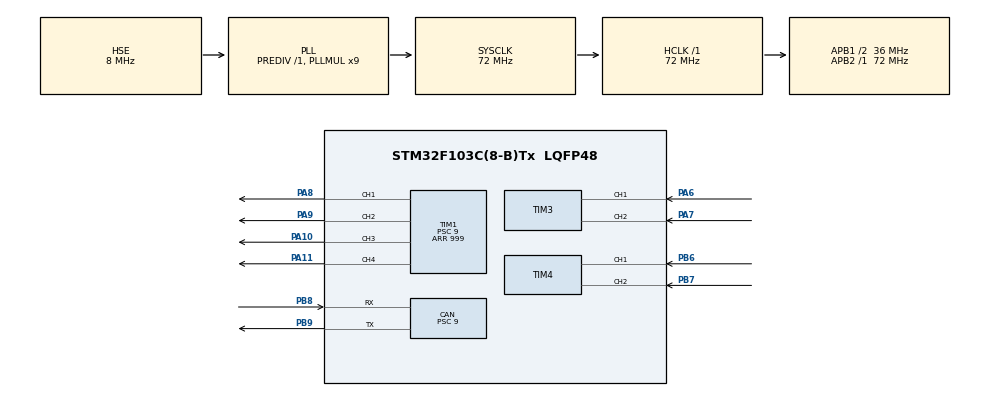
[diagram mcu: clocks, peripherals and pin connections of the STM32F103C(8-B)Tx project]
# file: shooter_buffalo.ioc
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CAN.BS1=CAN_BS1_2TQ
CAN.CalculateBaudRate=1000000
CAN.CalculateTimeBit=1000
CAN.CalculateTimeQuantum=250.0
CAN.Prescaler=9
Mcu.Family=STM32F1
Mcu.Name=STM32F103C(8-B)Tx
Mcu.Package=LQFP48
NVIC.CAN1_RX1_IRQn=true\:0\:0\:false\:false\:true\:true\:true\:true
NVIC.PriorityGroup=NVIC_PRIORITYGROUP_4
NVIC.TIM2_IRQn=true\:0\:0\:false\:false\:true\:true\:true\:true
PA10.Signal=S_TIM1_CH3
PA11.Signal=S_TIM1_CH4
PA13.Mode=Serial_Wire
PA13.Signal=SYS_JTMS-SWDIO
PA14.Mode=Serial_Wire
PA14.Signal=SYS_JTCK-SWCLK
PA6.Signal=S_TIM3_CH1
PA7.Signal=S_TIM3_CH2
PA8.Signal=S_TIM1_CH1
PA9.Signal=S_TIM1_CH2
PB6.Signal=S_TIM4_CH1
PB7.Signal=S_TIM4_CH2
PB8.Mode=CAN_Activate
PB8.Signal=CAN_RX
PB9.Mode=CAN_Activate
PB9.Signal=CAN_TX
PD0-OSC_IN.Mode=HSE-External-Oscillator
PD0-OSC_IN.Signal=RCC_OSC_IN
PD1-OSC_OUT.Mode=HSE-External-Oscillator
PD1-OSC_OUT.Signal=RCC_OSC_OUT
ProjectManager.HeapSize=0x200
ProjectManager.StackSize=0x400
ProjectManager.TargetToolchain=STM32CubeIDE
RCC.ADCPresc=RCC_ADCPCLK2_DIV6
RCC.AHBFreq_Value=72000000
RCC.APB1CLKDivider=RCC_HCLK_DIV2
RCC.APB1Freq_Value=36000000
RCC.APB1TimFreq_Value=72000000
RCC.APB2Freq_Value=72000000
RCC.APB2TimFreq_Value=72000000
RCC.HCLKFreq_Value=72000000
RCC.PLLMUL=RCC_PLL_MUL9
RCC.PLLSourceVirtual=RCC_PLLSOURCE_HSE
RCC.SYSCLKFreq_VALUE=72000000
RCC.SYSCLKSource=RCC_SYSCLKSOURCE_PLLCLK
RCC.USBFreq_Value=72000000
SH.S_TIM1_CH1.0=TIM1_CH1,PWM Generation1 CH1
SH.S_TIM1_CH2.0=TIM1_CH2,PWM Generation2 CH2
SH.S_TIM1_CH3.0=TIM1_CH3,PWM Generation3 CH3
SH.S_TIM1_CH4.0=TIM1_CH4,PWM Generation4 CH4
SH.S_TIM3_CH1.0=TIM3_CH1,Encoder_Interface
SH.S_TIM3_CH2.0=TIM3_CH2,Encoder_Interface
SH.S_TIM4_CH1.0=TIM4_CH1,Encoder_Interface
SH.S_TIM4_CH2.0=TIM4_CH2,Encoder_Interface
TIM1.AutoReloadPreload=TIM_AUTORELOAD_PRELOAD_ENABLE
TIM1.Channel-PWM\ Generation1\ CH1=TIM_CHANNEL_1
TIM1.Channel-PWM\ Generation2\ CH2=TIM_CHANNEL_2
TIM1.Channel-PWM\ Generation3\ CH3=TIM_CHANNEL_3
TIM1.Channel-PWM\ Generation4\ CH4=TIM_CHANNEL_4
TIM1.Period=999
TIM1.Prescaler=9
TIM2.AutoReloadPreload=TIM_AUTORELOAD_PRELOAD_ENABLE
TIM2.Period=9999
TIM2.Prescaler=71
TIM3.AutoReloadPreload=TIM_AUTORELOAD_PRELOAD_ENABLE
TIM3.EncoderMode=TIM_ENCODERMODE_TI12
TIM4.AutoReloadPreload=TIM_AUTORELOAD_PRELOAD_ENABLE
TIM4.EncoderMode=TIM_ENCODERMODE_TI12
VP_TIM2_VS_ClockSourceINT.Mode=Internal
board=custom

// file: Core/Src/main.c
/* USER CODE BEGIN Header */
/**
  ******************************************************************************
  * @file           : main.c
  * @brief          : Main program body
  ******************************************************************************
  * @attention
  *
  * Copyright (c) 2024 STMicroelectronics.
  * All rights reserved.
  *
  * This software is licensed under terms that can be found in the LICENSE file
  * in the root directory of this software component.
  * If no LICENSE file comes with this software, it is provided AS-IS.
  *
  ******************************************************************************
  */
/* USER CODE END Header */
#include "main.h"
#include "can.h"
#include "tim.h"
#include "gpio.h"

/* USER CODE BEGIN Includes */
#include "math.h"
#include "PID.h"
/* USER CODE END Includes */

/* USER CODE BEGIN PTD */
PIDController MPID;
CAN_RxHeaderTypeDef RxHeader;
CAN_TxHeaderTypeDef TxHeader;
/* USER CODE END PTD */

/* USER CODE BEGIN PD */
#define PI 3.1456
#define H 0.62
#define r 0.005
//#define CPR 64  // Motor bro Ra
//#define CPR 1300 // Motor bro Phana Motor 24V
//#define CPR2 1308  // Motor 12V
#define Sample_time 10 // ms
#define pi 3.14
//** Motor Shooting Bro Ra **//
//#define kp 0.03072
//#define ki 0.7483

//** Motor Shooting Bro Phana **//
#define CPR 946
#define kp 1.0510
#define ki 204.0816
//#define kp 3.6312  // Motor 24V
//#define ki 249.3097 // Motor 12V
//#define kp2 0.4122
//#define ki2 101.8
#define kd 0
#define Motor1 0
#define Motor2 1

// shooting ball
#define m 0.35 //[kg]
#define g 9.81 // [m/s^2]
#define b 1.225
/* USER CODE END PD */

/* USER CODE BEGIN PV */
//CAN
uint8_t RxData[8];
uint8_t TxData[8];
uint32_t TxMailbox;
int flag = 0;
uint8_t cntt;
float RxData1 = 0;
float RxData2 = 0;
float RxData3 = 0;
float RxData4 = 0;
// MOTOR
uint16_t count[2]; // count pulse from encoder
uint16_t new_count[2];
uint8_t count_state[2];
uint16_t diff[2]; // difference between count and new_count in a sample time
float speedM[2];
float rdps[2];
float Motor1_speed;
float Motor2_speed;

// Shooter
float pwm1;
float pwm2;
float h;
float V1;
float V;
float theta;
float V_shooter;
float V_shooter2;
uint16_t V1_out;
uint16_t V2_out;
int x;
uint8_t goal_ball;
float Vx;
float Vy;
float Omega;
float X;
float Y;
float Yaw;
float X_end;
float laserX;
float laserY;
uint8_t state = 0;
uint8_t ball_pur = 0;
uint8_t check_ballinside;
/* USER CODE END PV */

void SystemClock_Config(void);
/* USER CODE BEGIN PFP */
float Motors_RPS( int j,float SampleTime, float N_round)
{

	new_count[Motor2] = TIM3->CNT;
	new_count[Motor1] = TIM4->CNT;
	count_state[Motor2] = __HAL_TIM_IS_TIM_COUNTING_DOWN(&htim3);
	count_state[Motor1] = __HAL_TIM_IS_TIM_COUNTING_DOWN(&htim4);

	if (count_state[j])
	{
		if (new_count[j] <= count[j])
		{ // Check for counter underflow
			diff[j] = count[j] - new_count[j];
		}
		else
		{
			diff[j] = (65536 - new_count[j]) + count[j];
		}
		speedM[j] = (float)diff[j] * 1000.0f / (N_round * SampleTime)*-1;
	}
	else
	{
		if (new_count[j] >= count[j])
		{ // Check for counter overflow
			diff[j] = new_count[j] - count[j];
		}
		else
		{
			diff[j] = (65536 - count[j]) + new_count[j];
		}
		speedM[j] = (float)diff[j] * 1000.0f / (N_round * SampleTime);
	}

	rdps[j] = -2.0f * pi * speedM[j];
	count[j] = new_count[j];

	return rdps[j];
}
float map(float Input, float Min_Input, float Max_Input, float Min_Output,
		float Max_Output) {

	return (float) ((Input - Min_Input) * (Max_Output - Min_Output)
			/ (Max_Input - Min_Input) + Min_Output);
}

void HAL_CAN_RxFifo1MsgPendingCallback(CAN_HandleTypeDef *hcan) {
	HAL_CAN_GetRxMessage(hcan, CAN_RX_FIFO1, &RxHeader, RxData);
		cntt++;
		while (cntt - 100 > 0) {
			//HAL_GPIO_TogglePin(GPIOC, GPIO_PIN_13);
			cntt = 0;
		}

	if (RxHeader.StdId == 0x409) {
//		RxData1 = (RxData[0]<<8 | RxData[1]);
		RxData2 = (RxData[1]<<8 | RxData[2]);
		RxData3 = (RxData[3]<<8 | RxData[4]);
//		laserX = map(RxData2,0,65535,0.0,10.0);
//		laserY = map(RxData3,0,65535,0.0,10.0);
		check_ballinside = RxData[7];
		laserX = ((RxData2*0.08502) + 1.727)/100;
		laserY = ((RxData3*0.154) - 2.169)/100;
		flag = 1;
	}
	if (RxHeader.StdId == 0x222) {
				state = RxData[0];
				ball_pur = RxData[1];
	}
}
/* USER CODE END PFP */

int main(void)
{
  /* USER CODE BEGIN 1 */
	PID_Init(&MPID, 2);
	MPID.T = 0.01; // T = 10ms
	MPID.limMax = 1000;
	MPID.limMin = -1000;
	MPID.limMaxInt = 1000;
	MPID.limMinInt = -1000;
	MPID.tau = 0; // for Kd
  /* USER CODE END 1 */

  /* MCU Configuration--------------------------------------------------------*/

  /* Reset of all peripherals, Initializes the Flash interface and the Systick. */
  HAL_Init();

  /* Configure the system clock */
  SystemClock_Config();

  /* Initialize all configured peripherals */
  MX_GPIO_Init();
  MX_CAN_Init();
  MX_TIM1_Init();
  MX_TIM3_Init();
  MX_TIM2_Init();
  MX_TIM4_Init();
  /* USER CODE BEGIN 2 */
  HAL_TIM_PWM_Start(&htim1, TIM_CHANNEL_1);
    HAL_TIM_PWM_Start(&htim1, TIM_CHANNEL_2);
    HAL_TIM_PWM_Start(&htim1, TIM_CHANNEL_3);
    HAL_TIM_PWM_Start(&htim1, TIM_CHANNEL_4);
    HAL_TIM_Base_Start_IT(&htim2);
    HAL_TIM_Encoder_Start(&htim3, TIM_CHANNEL_ALL);
    HAL_TIM_Encoder_Start(&htim4, TIM_CHANNEL_ALL);
    HAL_CAN_Start(&hcan);

  	HAL_CAN_ActivateNotification(&hcan, CAN_IT_RX_FIFO1_MSG_PENDING);
  	TxHeader.DLC = 1;
  	TxHeader.IDE = CAN_ID_STD;
  	TxHeader.RTR = CAN_RTR_DATA;
  	TxHeader.StdId = 0x217; //Slave1
  /* USER CODE END 2 */

  /* Infinite loop */
  while (1)
  {

  }
}

void SystemClock_Config(void)
{
  RCC_OscInitTypeDef RCC_OscInitStruct = {0};
  RCC_ClkInitTypeDef RCC_ClkInitStruct = {0};

  /** Initializes the RCC Oscillators according to the specified parameters
  * in the RCC_OscInitTypeDef structure.
  */
  RCC_OscInitStruct.OscillatorType = RCC_OSCILLATORTYPE_HSE;
  RCC_OscInitStruct.HSEState = RCC_HSE_ON;
  RCC_OscInitStruct.HSEPredivValue = RCC_HSE_PREDIV_DIV1;
  RCC_OscInitStruct.HSIState = RCC_HSI_ON;
  RCC_OscInitStruct.PLL.PLLState = RCC_PLL_ON;
  RCC_OscInitStruct.PLL.PLLSource = RCC_PLLSOURCE_HSE;
  RCC_OscInitStruct.PLL.PLLMUL = RCC_PLL_MUL9;
  if (HAL_RCC_OscConfig(&RCC_OscInitStruct) != HAL_OK)
  {
    Error_Handler();
  }

  /** Initializes the CPU, AHB and APB buses clocks
  */
  RCC_ClkInitStruct.ClockType = RCC_CLOCKTYPE_HCLK|RCC_CLOCKTYPE_SYSCLK
                              |RCC_CLOCKTYPE_PCLK1|RCC_CLOCKTYPE_PCLK2;
  RCC_ClkInitStruct.SYSCLKSource = RCC_SYSCLKSOURCE_PLLCLK;
  RCC_ClkInitStruct.AHBCLKDivider = RCC_SYSCLK_DIV1;
  RCC_ClkInitStruct.APB1CLKDivider = RCC_HCLK_DIV2;
  RCC_ClkInitStruct.APB2CLKDivider = RCC_HCLK_DIV1;

  if (HAL_RCC_ClockConfig(&RCC_ClkInitStruct, FLASH_LATENCY_2) != HAL_OK)
  {
    Error_Handler();
  }
}

/* USER CODE BEGIN 4 */
void HAL_TIM_PeriodElapsedCallback(TIM_HandleTypeDef *htim) {
	if (htim->Instance == TIM2) {
		X = Vx*cosf(Yaw) - Vy*sinf(Yaw);
		Y = Vx*sinf(Yaw) + Vy*cosf(Yaw);
		Yaw = Omega;
		if ((laserX >= 0.02 && laserX <= 0.06 && (state == 17))
				|| (ball_pur == 1) || (check_ballinside==1 &&state == 6)) {
			V_shooter2 = -60;
		} else {
			V_shooter2 = 0.0;
		}

		if (state == 5 || state == 6 || state == 16 || state == 17 || (check_ballinside==1 && state == 6)) {
			V_shooter = -40;
		} else {
			V_shooter = 0.0;
		}

//		V_shooter2 = -40;
//		V_shooter = -40;
		Motor1_speed = Motors_RPS(Motor1, Sample_time, CPR); // Motor24V
		Motor2_speed = Motors_RPS(Motor2, Sample_time, CPR); // Motor12V
		pwm1 = PID(&MPID, V_shooter, Motor1_speed, kp, ki, kd, Motor1); //Motor24V
		pwm2 = PID(&MPID, V_shooter2, Motor2_speed, kp, ki, kd, Motor2); //Motor12V

		// Control Motor
		if (pwm2 > 10){
			TIM1->CCR1 = pwm2;
			TIM1->CCR2 = 0;
		}
		else if (pwm2 < -10){
			TIM1->CCR1 = 0;
			TIM1->CCR2 = -1 * pwm2;
		}
		else{
			TIM1->CCR1 = 0;
			TIM1->CCR2 = 0;
		}
		if (pwm1 > 10){
			TIM1->CCR3 = 0;
			TIM1->CCR4 = pwm1;
		} else if (pwm1 < -10) {
			TIM1->CCR3 = -1 * pwm1;
			TIM1->CCR4 = 0;
		} else {
			TIM1->CCR3 = 0;
			TIM1->CCR4 = 0;
		}
//		V1_out = map(Motor1_speed, -50, 50, 0, 65535);
//		V2_out = map(Motor2_speed, -50, 50, 0, 65535);
		//		//

//		if (flag == 1) {
//			HAL_CAN_AddTxMessage(&hcan, &TxHeader, TxData, &TxMailbox);
//			flag = 0;
//		}

	}
}
/* USER CODE END 4 */

void Error_Handler(void)
{
  __disable_irq();
  while (1)
  {
  }
}
